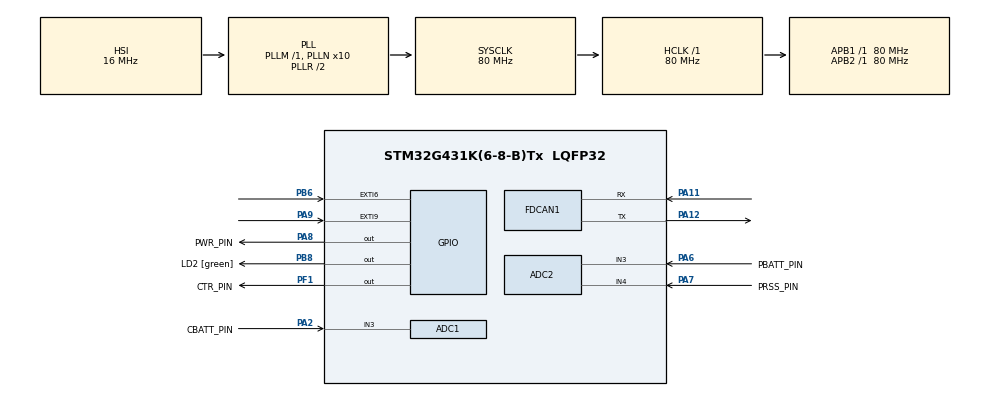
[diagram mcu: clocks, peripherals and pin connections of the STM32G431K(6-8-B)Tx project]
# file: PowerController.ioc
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ADC1.Channel-0\#ChannelRegularConversion=ADC_CHANNEL_3
ADC1.Channel-1\#ChannelRegularConversion=ADC_CHANNEL_TEMPSENSOR_ADC1
ADC1.ContinuousConvMode=ENABLE
ADC1.DMAContinuousRequests=ENABLE
ADC1.NbrOfConversion=2
ADC1.NbrOfConversionFlag=1
ADC1.OffsetNumber-0\#ChannelRegularConversion=ADC_OFFSET_NONE
ADC1.OffsetNumber-1\#ChannelRegularConversion=ADC_OFFSET_NONE
ADC1.OversamplingMode=DISABLE
ADC1.Rank-0\#ChannelRegularConversion=1
ADC1.Rank-1\#ChannelRegularConversion=2
ADC1.SamplingTime-0\#ChannelRegularConversion=ADC_SAMPLETIME_47CYCLES_5
ADC1.SamplingTime-1\#ChannelRegularConversion=ADC_SAMPLETIME_47CYCLES_5
ADC1.master=1
ADC2.Channel-0\#ChannelRegularConversion=ADC_CHANNEL_3
ADC2.Channel-1\#ChannelRegularConversion=ADC_CHANNEL_4
ADC2.ContinuousConvMode=ENABLE
ADC2.DMAContinuousRequests=ENABLE
ADC2.NbrOfConversion=2
ADC2.NbrOfConversionFlag=1
ADC2.OffsetNumber-0\#ChannelRegularConversion=ADC_OFFSET_NONE
ADC2.OffsetNumber-1\#ChannelRegularConversion=ADC_OFFSET_NONE
ADC2.Rank-0\#ChannelRegularConversion=1
ADC2.Rank-1\#ChannelRegularConversion=2
ADC2.SamplingTime-0\#ChannelRegularConversion=ADC_SAMPLETIME_47CYCLES_5
ADC2.SamplingTime-1\#ChannelRegularConversion=ADC_SAMPLETIME_47CYCLES_5
Dma.ADC1.0.Direction=DMA_PERIPH_TO_MEMORY
Dma.ADC1.0.EventEnable=DISABLE
Dma.ADC1.0.Instance=DMA1_Channel1
Dma.ADC1.0.MemDataAlignment=DMA_MDATAALIGN_HALFWORD
Dma.ADC1.0.MemInc=DMA_MINC_ENABLE
Dma.ADC1.0.Mode=DMA_CIRCULAR
Dma.ADC1.0.PeriphDataAlignment=DMA_PDATAALIGN_HALFWORD
Dma.ADC1.0.PeriphInc=DMA_PINC_DISABLE
Dma.ADC1.0.Polarity=HAL_DMAMUX_REQ_GEN_RISING
Dma.ADC1.0.Priority=DMA_PRIORITY_LOW
Dma.ADC1.0.RequestNumber=1
Dma.ADC1.0.SignalID=NONE
Dma.ADC1.0.SyncEnable=DISABLE
Dma.ADC1.0.SyncPolarity=HAL_DMAMUX_SYNC_NO_EVENT
Dma.ADC1.0.SyncRequestNumber=1
Dma.ADC1.0.SyncSignalID=NONE
Dma.ADC2.1.Direction=DMA_PERIPH_TO_MEMORY
Dma.ADC2.1.EventEnable=DISABLE
Dma.ADC2.1.Instance=DMA1_Channel2
Dma.ADC2.1.MemDataAlignment=DMA_MDATAALIGN_HALFWORD
Dma.ADC2.1.MemInc=DMA_MINC_ENABLE
Dma.ADC2.1.Mode=DMA_CIRCULAR
Dma.ADC2.1.PeriphDataAlignment=DMA_PDATAALIGN_HALFWORD
Dma.ADC2.1.PeriphInc=DMA_PINC_DISABLE
Dma.ADC2.1.Polarity=HAL_DMAMUX_REQ_GEN_RISING
Dma.ADC2.1.Priority=DMA_PRIORITY_LOW
Dma.ADC2.1.RequestNumber=1
Dma.ADC2.1.SignalID=NONE
Dma.ADC2.1.SyncEnable=DISABLE
Dma.ADC2.1.SyncPolarity=HAL_DMAMUX_SYNC_NO_EVENT
Dma.ADC2.1.SyncRequestNumber=1
Dma.ADC2.1.SyncSignalID=NONE
Dma.Request0=ADC1
Dma.Request1=ADC2
FDCAN1.CalculateBaudRateNominal=1000000
FDCAN1.CalculateTimeBitNominal=1000
FDCAN1.CalculateTimeQuantumNominal=62.5
FDCAN1.DataPrescaler=1
FDCAN1.DataSyncJumpWidth=4
FDCAN1.DataTimeSeg1=5
FDCAN1.DataTimeSeg2=4
FDCAN1.NominalPrescaler=5
FDCAN1.NominalSyncJumpWidth=16
FDCAN1.NominalTimeSeg1=13
FDCAN1.StdFiltersNbr=1
Mcu.Family=STM32G4
Mcu.Name=STM32G431K(6-8-B)Tx
Mcu.Package=LQFP32
NVIC.DMA1_Channel1_IRQn=true\:0\:0\:false\:false\:true\:false\:true\:true
NVIC.DMA1_Channel2_IRQn=true\:0\:0\:false\:false\:true\:false\:true\:true
NVIC.FDCAN1_IT0_IRQn=true\:0\:0\:false\:false\:true\:true\:true\:true
NVIC.FDCAN1_IT1_IRQn=true\:0\:0\:false\:false\:true\:true\:true\:true
NVIC.PriorityGroup=NVIC_PRIORITYGROUP_4
PA11.Mode=FDCAN_Activate
PA11.Signal=FDCAN1_RX
PA12.Mode=FDCAN_Activate
PA12.Signal=FDCAN1_TX
PA13.GPIO_Label=T_SWDIO
PA13.Mode=Serial_Wire
PA13.Signal=SYS_JTMS-SWDIO
PA14.GPIO_Label=T_SWCLK
PA14.Mode=Serial_Wire
PA14.Signal=SYS_JTCK-SWCLK
PA2.GPIO_Label=CBATT_PIN
PA2.Mode=IN3-Single-Ended
PA2.Signal=ADC1_IN3
PA6.GPIO_Label=PBATT_PIN
PA6.Mode=IN3-Single-Ended
PA6.Signal=ADC2_IN3
PA7.GPIO_Label=PRSS_PIN
PA7.Mode=IN4-Single-Ended
PA7.Signal=ADC2_IN4
PA8.GPIO_Label=PWR_PIN
PA8.PinState=GPIO_PIN_RESET
PA8.Signal=GPIO_Output
PA9.GPIO_ModeDefaultEXTI=GPIO_MODE_IT_FALLING
PA9.Signal=GPXTI9
PB6.GPIO_ModeDefaultEXTI=GPIO_MODE_IT_RISING_FALLING
PB6.Signal=GPXTI6
PB8-BOOT0.GPIO_Label=LD2 [green]
PB8-BOOT0.Signal=GPIO_Output
PF1-OSC_OUT.GPIO_Label=CTR_PIN
PF1-OSC_OUT.Signal=GPIO_Output
ProjectManager.HeapSize=0x200
ProjectManager.StackSize=0x400
ProjectManager.TargetToolchain=STM32CubeIDE
RCC.ADC12Freq_Value=80000000
RCC.AHBFreq_Value=80000000
RCC.APB1Freq_Value=80000000
RCC.APB1TimFreq_Value=80000000
RCC.APB2Freq_Value=80000000
RCC.APB2TimFreq_Value=80000000
RCC.CortexFreq_Value=80000000
RCC.EXTERNAL_CLOCK_VALUE=12288000
RCC.HCLKFreq_Value=80000000
RCC.HSE_VALUE=8000000
RCC.HSI48_VALUE=48000000
RCC.HSI_VALUE=16000000
RCC.LSE_VALUE=32768
RCC.PLLN=10
RCC.SYSCLKFreq_VALUE=80000000
RCC.SYSCLKSource=RCC_SYSCLKSOURCE_PLLCLK
RCC.USBFreq_Value=80000000
RCC.VCOOutputFreq_Value=160000000
VP_ADC1_TempSens_Input.Mode=IN-TempSens
board=NUCLEO-G431KB

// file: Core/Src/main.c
/* USER CODE BEGIN Header */
/**
  ******************************************************************************
  * @file           : main.c
  * @brief          : Main program body
  ******************************************************************************
  * @attention
  *
  * Copyright (c) 2023 STMicroelectronics.
  * All rights reserved.
  *
  * This software is licensed under terms that can be found in the LICENSE file
  * in the root directory of this software component.
  * If no LICENSE file comes with this software, it is provided AS-IS.
  *
  ******************************************************************************
  */
/* USER CODE END Header */
#include "main.h"

/* USER CODE BEGIN Includes */
#include <stdio.h>
/* USER CODE END Includes */

/* USER CODE BEGIN PM */
#define ISLAMP_OFFSET 2.5
#define ISLAMP_GAIN 9.77
#define CANID_POWERFB 0x700
#define CANID_POWERSTT 0x000
/* USER CODE END PM */

ADC_HandleTypeDef hadc1;
ADC_HandleTypeDef hadc2;
DMA_HandleTypeDef hdma_adc1;
DMA_HandleTypeDef hdma_adc2;

FDCAN_HandleTypeDef hfdcan1;

/* USER CODE BEGIN PV */
FDCAN_TxHeaderTypeDef TxHeader;
uint16_t ADC1Buff[2];	//0: Controller Battery Voltage, 1: Temperature
uint16_t ADC2Buff[2];	//0: Power Battery Voltage, 1: Air pressure
uint8_t PFlag;
uint8_t CFlag;

/* USER CODE END PV */

void SystemClock_Config(void);
static void MX_GPIO_Init(void);
static void MX_DMA_Init(void);
static void MX_FDCAN1_Init(void);
static void MX_ADC1_Init(void);
static void MX_ADC2_Init(void);

/* USER CODE BEGIN 0 */
/*int _write(int file, char *ptr, int len)
{
	HAL_UART_Transmit(&huart2, (uint8_t *)ptr, len, 10);
	return len;
}*/

uint16_t Filter(uint16_t Val, uint16_t _Val, uint16_t gain){
	return (Val*gain + _Val*(100-gain)) / 100;
}

/*
void HAL_GPIO_EXTI_Callback(uint16_t GPIO_Pin){
	if(GPIO_Pin == GPIO_PIN_6){
		HAL_Delay(1);
		uint8_t TxData[1] = {};

		//Drive Power OverCurrent Detection
		if(HAL_GPIO_ReadPin(GPIOB, GPIO_PIN_6) == GPIO_PIN_SET){
			TxHeader.Identifier = CANID_POWERSTT;
			TxHeader.DataLength = FDCAN_DLC_BYTES_1;
			PFlag = 1;
			TxData[0] = PFlag;

			if(HAL_FDCAN_AddMessageToTxFifoQ(&hfdcan1, &TxHeader, TxData) != HAL_OK){
				Error_Handler();
			}
		}

		if(HAL_GPIO_ReadPin(GPIOB, GPIO_PIN_6) == GPIO_PIN_RESET){
			TxHeader.Identifier = CANID_POWERSTT;
			TxHeader.DataLength = FDCAN_DLC_BYTES_1;
			PFlag = 0;
			TxData[0] = PFlag;

			if(HAL_FDCAN_AddMessageToTxFifoQ(&hfdcan1, &TxHeader, TxData) != HAL_OK){
				Error_Handler();

			}
		}

	}

	// When Controller Power Down
	if(GPIO_Pin == GPIO_PIN_9){
			HAL_Delay(1);
			uint8_t TxData[1] = {};
			if(HAL_GPIO_ReadPin(GPIOA, GPIO_PIN_9) == GPIO_PIN_RESET){
				HAL_GPIO_WritePin(GPIOA, GPIO_PIN_8, GPIO_PIN_RESET);
				TxHeader.Identifier = CANID_POWERSTT;
				TxHeader.DataLength = FDCAN_DLC_BYTES_1;
				PFlag = 0;
				TxData[0] = PFlag;

				if(HAL_FDCAN_AddMessageToTxFifoQ(&hfdcan1, &TxHeader, TxData) != HAL_OK){
					Error_Handler();
				}
			}
	}
}*/
/* USER CODE END 0 */

int main(void)
{
  /* USER CODE BEGIN 1 */
	uint16_t PBattVol, CBattVol, AirPress, Tmp; //10^-2 V, 10^-2 V, 10^3 Pa, 10 ^-1 C
	uint16_t _PBattVol = 2220;
	uint16_t _CBattVol = 740;
	uint16_t _AirPress = 600;
	uint16_t _Tmp      = 180;
	uint16_t gain[4] = {90, 90, 90, 90};
 	uint8_t TxData[8];
  /* USER CODE END 1 */

  /* MCU Configuration--------------------------------------------------------*/

  /* Reset of all peripherals, Initializes the Flash interface and the Systick. */
  HAL_Init();

  /* Configure the system clock */
  SystemClock_Config();

  /* Initialize all configured peripherals */
  MX_GPIO_Init();
  MX_DMA_Init();
  MX_FDCAN1_Init();
  MX_ADC1_Init();
  MX_ADC2_Init();
  /* USER CODE BEGIN 2 */
  /*
	TxData[0] = 1;
	TxHeader.Identifier = 0x002;
	TxHeader.DataLength = FDCAN_DLC_BYTES_1;

	if(HAL_FDCAN_AddMessageToTxFifoQ(&hfdcan1, &TxHeader, TxData) != HAL_OK){
		Error_Handler();
	}*/
  HAL_GPIO_WritePin(GPIOF, GPIO_PIN_1, GPIO_PIN_SET);//Controller Power ON
  while(HAL_GPIO_ReadPin(GPIOA, GPIO_PIN_9)== GPIO_PIN_SET)HAL_Delay(1);

  HAL_GPIO_WritePin(GPIOA, GPIO_PIN_8, GPIO_PIN_SET);
  while(HAL_GPIO_ReadPin(GPIOB, GPIO_PIN_6)== GPIO_PIN_SET)HAL_Delay(1);

  /* USER CODE END 2 */

  /* Infinite loop */
  /* USER CODE BEGIN WHILE */
  while (1)
  {
	for(uint8_t i=0; i<10; i++){

		HAL_Delay(10);
		PBattVol = ((((float) ADC2Buff[0] * 3.3 / 4095 ) - ISLAMP_OFFSET) * 10 * 123.6 * 10 / (ISLAMP_GAIN * 6.7))*gain[0]/100;
		CBattVol = ((float) ADC1Buff[0] * 3.3 / 4095 )*60;
		AirPress = ((((float) ADC2Buff[1] * 3.3 / 4095)*10/6.7 - 0.25) * 150 / 4.5)*6.895;
		Tmp      = (float) ADC1Buff[1];

		PBattVol = Filter(PBattVol, _PBattVol, gain[0]);
		CBattVol = Filter(CBattVol, _CBattVol, gain[1]);
		AirPress = Filter(AirPress, _AirPress, gain[2]);
		Tmp      = Filter(Tmp, _Tmp, gain[3]);

		_PBattVol = PBattVol;
		_CBattVol = CBattVol;
		_AirPress = AirPress;
		_Tmp      = Tmp;

	}
	TxData[0] = PBattVol>>8;
	TxData[1] = PBattVol & 0x00FF;
	TxData[2] = CBattVol>>8;
	TxData[3] = CBattVol & 0x00FF;
	TxData[4] = AirPress>>8;
	TxData[5] = AirPress & 0x00FF;
	TxData[6] = Tmp>>8;
	TxData[7] = Tmp & 0x00FF;

	TxHeader.Identifier = CANID_POWERFB;
	TxHeader.DataLength = FDCAN_DLC_BYTES_8;

	if(HAL_FDCAN_AddMessageToTxFifoQ(&hfdcan1, &TxHeader, TxData) != HAL_OK){
		Error_Handler();
	}

    /* USER CODE END WHILE */

  }
}

void SystemClock_Config(void)
{
  RCC_OscInitTypeDef RCC_OscInitStruct = {0};
  RCC_ClkInitTypeDef RCC_ClkInitStruct = {0};

  /** Configure the main internal regulator output voltage
  */
  HAL_PWREx_ControlVoltageScaling(PWR_REGULATOR_VOLTAGE_SCALE1);

  /** Initializes the RCC Oscillators according to the specified parameters
  * in the RCC_OscInitTypeDef structure.
  */
  RCC_OscInitStruct.OscillatorType = RCC_OSCILLATORTYPE_HSI;
  RCC_OscInitStruct.HSIState = RCC_HSI_ON;
  RCC_OscInitStruct.HSICalibrationValue = RCC_HSICALIBRATION_DEFAULT;
  RCC_OscInitStruct.PLL.PLLState = RCC_PLL_ON;
  RCC_OscInitStruct.PLL.PLLSource = RCC_PLLSOURCE_HSI;
  RCC_OscInitStruct.PLL.PLLM = RCC_PLLM_DIV1;
  RCC_OscInitStruct.PLL.PLLN = 10;
  RCC_OscInitStruct.PLL.PLLP = RCC_PLLP_DIV2;
  RCC_OscInitStruct.PLL.PLLQ = RCC_PLLQ_DIV2;
  RCC_OscInitStruct.PLL.PLLR = RCC_PLLR_DIV2;
  if (HAL_RCC_OscConfig(&RCC_OscInitStruct) != HAL_OK)
  {
    Error_Handler();
  }

  /** Initializes the CPU, AHB and APB buses clocks
  */
  RCC_ClkInitStruct.ClockType = RCC_CLOCKTYPE_HCLK|RCC_CLOCKTYPE_SYSCLK
                              |RCC_CLOCKTYPE_PCLK1|RCC_CLOCKTYPE_PCLK2;
  RCC_ClkInitStruct.SYSCLKSource = RCC_SYSCLKSOURCE_PLLCLK;
  RCC_ClkInitStruct.AHBCLKDivider = RCC_SYSCLK_DIV1;
  RCC_ClkInitStruct.APB1CLKDivider = RCC_HCLK_DIV1;
  RCC_ClkInitStruct.APB2CLKDivider = RCC_HCLK_DIV1;

  if (HAL_RCC_ClockConfig(&RCC_ClkInitStruct, FLASH_LATENCY_2) != HAL_OK)
  {
    Error_Handler();
  }
}

static void MX_ADC1_Init(void)
{

  ADC_MultiModeTypeDef multimode = {0};
  ADC_ChannelConfTypeDef sConfig = {0};

  /** Common config
  */
  hadc1.Instance = ADC1;
  hadc1.Init.ClockPrescaler = ADC_CLOCK_SYNC_PCLK_DIV2;
  hadc1.Init.Resolution = ADC_RESOLUTION_12B;
  hadc1.Init.DataAlign = ADC_DATAALIGN_RIGHT;
  hadc1.Init.GainCompensation = 0;
  hadc1.Init.ScanConvMode = ADC_SCAN_ENABLE;
  hadc1.Init.EOCSelection = ADC_EOC_SINGLE_CONV;
  hadc1.Init.LowPowerAutoWait = DISABLE;
  hadc1.Init.ContinuousConvMode = ENABLE;
  hadc1.Init.NbrOfConversion = 2;
  hadc1.Init.DiscontinuousConvMode = DISABLE;
  hadc1.Init.ExternalTrigConv = ADC_SOFTWARE_START;
  hadc1.Init.ExternalTrigConvEdge = ADC_EXTERNALTRIGCONVEDGE_NONE;
  hadc1.Init.DMAContinuousRequests = ENABLE;
  hadc1.Init.Overrun = ADC_OVR_DATA_PRESERVED;
  hadc1.Init.OversamplingMode = DISABLE;
  if (HAL_ADC_Init(&hadc1) != HAL_OK)
  {
    Error_Handler();
  }

  /** Configure the ADC multi-mode
  */
  multimode.Mode = ADC_MODE_INDEPENDENT;
  if (HAL_ADCEx_MultiModeConfigChannel(&hadc1, &multimode) != HAL_OK)
  {
    Error_Handler();
  }

  /** Configure Regular Channel
  */
  sConfig.Channel = ADC_CHANNEL_3;
  sConfig.Rank = ADC_REGULAR_RANK_1;
  sConfig.SamplingTime = ADC_SAMPLETIME_47CYCLES_5;
  sConfig.SingleDiff = ADC_SINGLE_ENDED;
  sConfig.OffsetNumber = ADC_OFFSET_NONE;
  sConfig.Offset = 0;
  if (HAL_ADC_ConfigChannel(&hadc1, &sConfig) != HAL_OK)
  {
    Error_Handler();
  }

  /** Configure Regular Channel
  */
  sConfig.Channel = ADC_CHANNEL_TEMPSENSOR_ADC1;
  sConfig.Rank = ADC_REGULAR_RANK_2;
  if (HAL_ADC_ConfigChannel(&hadc1, &sConfig) != HAL_OK)
  {
    Error_Handler();
  }
  /* USER CODE BEGIN ADC1_Init 2 */
	HAL_ADCEx_Calibration_Start(&hadc1, ADC_SINGLE_ENDED);
	HAL_ADC_Start_DMA(&hadc1, (uint32_t *)ADC1Buff, sizeof(ADC1Buff) / sizeof(ADC1Buff[0]));
	hdma_adc1.Instance->CCR &= ~(DMA_IT_TC | DMA_IT_HT);

  /* USER CODE END ADC1_Init 2 */

}

static void MX_ADC2_Init(void)
{

  ADC_ChannelConfTypeDef sConfig = {0};

  /** Common config
  */
  hadc2.Instance = ADC2;
  hadc2.Init.ClockPrescaler = ADC_CLOCK_SYNC_PCLK_DIV2;
  hadc2.Init.Resolution = ADC_RESOLUTION_12B;
  hadc2.Init.DataAlign = ADC_DATAALIGN_RIGHT;
  hadc2.Init.GainCompensation = 0;
  hadc2.Init.ScanConvMode = ADC_SCAN_ENABLE;
  hadc2.Init.EOCSelection = ADC_EOC_SINGLE_CONV;
  hadc2.Init.LowPowerAutoWait = DISABLE;
  hadc2.Init.ContinuousConvMode = ENABLE;
  hadc2.Init.NbrOfConversion = 2;
  hadc2.Init.DiscontinuousConvMode = DISABLE;
  hadc2.Init.ExternalTrigConv = ADC_SOFTWARE_START;
  hadc2.Init.ExternalTrigConvEdge = ADC_EXTERNALTRIGCONVEDGE_NONE;
  hadc2.Init.DMAContinuousRequests = ENABLE;
  hadc2.Init.Overrun = ADC_OVR_DATA_PRESERVED;
  hadc2.Init.OversamplingMode = DISABLE;
  if (HAL_ADC_Init(&hadc2) != HAL_OK)
  {
    Error_Handler();
  }

  /** Configure Regular Channel
  */
  sConfig.Channel = ADC_CHANNEL_3;
  sConfig.Rank = ADC_REGULAR_RANK_1;
  sConfig.SamplingTime = ADC_SAMPLETIME_47CYCLES_5;
  sConfig.SingleDiff = ADC_SINGLE_ENDED;
  sConfig.OffsetNumber = ADC_OFFSET_NONE;
  sConfig.Offset = 0;
  if (HAL_ADC_ConfigChannel(&hadc2, &sConfig) != HAL_OK)
  {
    Error_Handler();
  }

  /** Configure Regular Channel
  */
  sConfig.Channel = ADC_CHANNEL_4;
  sConfig.Rank = ADC_REGULAR_RANK_2;
  if (HAL_ADC_ConfigChannel(&hadc2, &sConfig) != HAL_OK)
  {
    Error_Handler();
  }
  /* USER CODE BEGIN ADC2_Init 2 */
	HAL_ADCEx_Calibration_Start(&hadc2, ADC_SINGLE_ENDED);
	HAL_ADC_Start_DMA(&hadc2, (uint32_t *)ADC2Buff, sizeof(ADC2Buff) / sizeof(ADC2Buff[0]));
	hdma_adc1.Instance->CCR &= ~(DMA_IT_TC | DMA_IT_HT);

  /* USER CODE END ADC2_Init 2 */

}

static void MX_FDCAN1_Init(void)
{

  hfdcan1.Instance = FDCAN1;
  hfdcan1.Init.ClockDivider = FDCAN_CLOCK_DIV1;
  hfdcan1.Init.FrameFormat = FDCAN_FRAME_CLASSIC;
  hfdcan1.Init.Mode = FDCAN_MODE_NORMAL;
  hfdcan1.Init.AutoRetransmission = DISABLE;
  hfdcan1.Init.TransmitPause = DISABLE;
  hfdcan1.Init.ProtocolException = DISABLE;
  hfdcan1.Init.NominalPrescaler = 5;
  hfdcan1.Init.NominalSyncJumpWidth = 16;
  hfdcan1.Init.NominalTimeSeg1 = 13;
  hfdcan1.Init.NominalTimeSeg2 = 2;
  hfdcan1.Init.DataPrescaler = 1;
  hfdcan1.Init.DataSyncJumpWidth = 4;
  hfdcan1.Init.DataTimeSeg1 = 5;
  hfdcan1.Init.DataTimeSeg2 = 4;
  hfdcan1.Init.StdFiltersNbr = 1;
  hfdcan1.Init.ExtFiltersNbr = 0;
  hfdcan1.Init.TxFifoQueueMode = FDCAN_TX_FIFO_OPERATION;
  if (HAL_FDCAN_Init(&hfdcan1) != HAL_OK)
  {
    Error_Handler();
  }
  /* USER CODE BEGIN FDCAN1_Init 2 */
	TxHeader.IdType = FDCAN_STANDARD_ID;
	TxHeader.TxFrameType = FDCAN_DATA_FRAME;
	TxHeader.DataLength = FDCAN_DLC_BYTES_3;
	TxHeader.ErrorStateIndicator = FDCAN_ESI_ACTIVE;
	TxHeader.BitRateSwitch = FDCAN_BRS_OFF;
	TxHeader.FDFormat = FDCAN_CLASSIC_CAN;
	TxHeader.TxEventFifoControl = FDCAN_NO_TX_EVENTS;
	TxHeader.MessageMarker = 0;
	//TxHeader.Identifier = CANID_ROBOTVEL;

	FDCAN_FilterTypeDef sFilterConfig;
	sFilterConfig.IdType = FDCAN_STANDARD_ID;
	sFilterConfig.FilterIndex = 0;
	sFilterConfig.FilterType = FDCAN_FILTER_MASK;
	sFilterConfig.FilterConfig = FDCAN_FILTER_TO_RXFIFO0;
	sFilterConfig.FilterID1 = 0x000;
	sFilterConfig.FilterID2 = 0x7F0;

	if (HAL_FDCAN_ConfigFilter(&hfdcan1, &sFilterConfig) != HAL_OK) {
		Error_Handler();
	}
	if (HAL_FDCAN_ConfigGlobalFilter(&hfdcan1, FDCAN_REJECT, FDCAN_REJECT, FDCAN_FILTER_REMOTE, FDCAN_FILTER_REMOTE) != HAL_OK) {
		Error_Handler();
	}

	if (HAL_FDCAN_Start(&hfdcan1) != HAL_OK) {
		Error_Handler();
	}
	if (HAL_FDCAN_ActivateNotification(&hfdcan1, FDCAN_IT_RX_FIFO0_NEW_MESSAGE, 0) != HAL_OK) {
	  Error_Handler();
	}

  /* USER CODE END FDCAN1_Init 2 */

}

static void MX_DMA_Init(void)
{

  /* DMA controller clock enable */
  __HAL_RCC_DMAMUX1_CLK_ENABLE();
  __HAL_RCC_DMA1_CLK_ENABLE();

  /* DMA interrupt init */
  /* DMA1_Channel1_IRQn interrupt configuration */
  HAL_NVIC_SetPriority(DMA1_Channel1_IRQn, 0, 0);
  HAL_NVIC_EnableIRQ(DMA1_Channel1_IRQn);
  /* DMA1_Channel2_IRQn interrupt configuration */
  HAL_NVIC_SetPriority(DMA1_Channel2_IRQn, 0, 0);
  HAL_NVIC_EnableIRQ(DMA1_Channel2_IRQn);

}

static void MX_GPIO_Init(void)
{
  GPIO_InitTypeDef GPIO_InitStruct = {0};

  /* GPIO Ports Clock Enable */
  __HAL_RCC_GPIOF_CLK_ENABLE();
  __HAL_RCC_GPIOA_CLK_ENABLE();
  __HAL_RCC_GPIOB_CLK_ENABLE();

  /*Configure GPIO pin Output Level */
  HAL_GPIO_WritePin(CTR_PIN_GPIO_Port, CTR_PIN_Pin, GPIO_PIN_RESET);

  /*Configure GPIO pin Output Level */
  HAL_GPIO_WritePin(PWR_PIN_GPIO_Port, PWR_PIN_Pin, GPIO_PIN_RESET);

  /*Configure GPIO pin Output Level */
  HAL_GPIO_WritePin(LD2_GPIO_Port, LD2_Pin, GPIO_PIN_RESET);

  /*Configure GPIO pin : CTR_PIN_Pin */
  GPIO_InitStruct.Pin = CTR_PIN_Pin;
  GPIO_InitStruct.Mode = GPIO_MODE_OUTPUT_PP;
  GPIO_InitStruct.Pull = GPIO_NOPULL;
  GPIO_InitStruct.Speed = GPIO_SPEED_FREQ_LOW;
  HAL_GPIO_Init(CTR_PIN_GPIO_Port, &GPIO_InitStruct);

  /*Configure GPIO pin : PWR_PIN_Pin */
  GPIO_InitStruct.Pin = PWR_PIN_Pin;
  GPIO_InitStruct.Mode = GPIO_MODE_OUTPUT_PP;
  GPIO_InitStruct.Pull = GPIO_NOPULL;
  GPIO_InitStruct.Speed = GPIO_SPEED_FREQ_LOW;
  HAL_GPIO_Init(PWR_PIN_GPIO_Port, &GPIO_InitStruct);

  /*Configure GPIO pin : PA9 */
  GPIO_InitStruct.Pin = GPIO_PIN_9;
  GPIO_InitStruct.Mode = GPIO_MODE_IT_FALLING;
  GPIO_InitStruct.Pull = GPIO_NOPULL;
  HAL_GPIO_Init(GPIOA, &GPIO_InitStruct);

  /*Configure GPIO pin : PB6 */
  GPIO_InitStruct.Pin = GPIO_PIN_6;
  GPIO_InitStruct.Mode = GPIO_MODE_IT_RISING_FALLING;
  GPIO_InitStruct.Pull = GPIO_NOPULL;
  HAL_GPIO_Init(GPIOB, &GPIO_InitStruct);

  /*Configure GPIO pin : LD2_Pin */
  GPIO_InitStruct.Pin = LD2_Pin;
  GPIO_InitStruct.Mode = GPIO_MODE_OUTPUT_PP;
  GPIO_InitStruct.Pull = GPIO_NOPULL;
  GPIO_InitStruct.Speed = GPIO_SPEED_FREQ_LOW;
  HAL_GPIO_Init(LD2_GPIO_Port, &GPIO_InitStruct);

}

/* USER CODE BEGIN 4 */
HAL_FDCAN_RxFifo0Callback(FDCAN_HandleTypeDef *hfdcan, uint32_t RxFifo0ITs)
{
	FDCAN_RxHeaderTypeDef RxHeader;
	uint8_t RxData[8];

	if(hfdcan==&hfdcan1){
		if (HAL_FDCAN_GetRxMessage(hfdcan, FDCAN_RX_FIFO0, &RxHeader, RxData) != HAL_OK) {
			Error_Handler();
		}
	}
}

/*void HAL_TIM_PeriodElapsedCallback(TIM_HandleTypeDef *htim){
	if(htim==&htim3){

	}
}/*

/* USER CODE END 4 */

void Error_Handler(void)
{
  __disable_irq();
  while (1)
  {
  }
}
